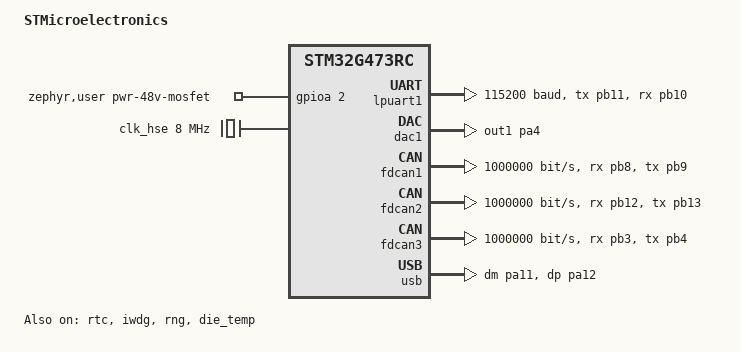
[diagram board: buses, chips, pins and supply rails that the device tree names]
/*
 * Copyright (c) 2019 STMicroelectronics.
 *
 * SPDX-License-Identifier: Apache-2.0
 */

/dts-v1/;
#include <st/g4/stm32g473Xc.dtsi>
#include "can_adapter.dtsi"
#include "stm32g473rctx_pinctrl.dtsi"
#include <zephyr/dt-bindings/input/input-event-codes.h>

/ {
	model = "STMicroelectronics";
	compatible = "st,stm32g473rc";

	chosen {
		zephyr,console = &rtt0;
		zephyr,shell-uart = &rtt0;
		zephyr,sram = &sram0;
		zephyr,flash = &flash0;
		zephyr,canfd1 = &fdcan1;
		zephyr,canfd2 = &fdcan2;
		zephyr,canfd3 = &fdcan3;
		zephyr,lpuart1 = &lpuart1;
	};

	rtt0: rtt_chan0 {
		compatible = "segger,rtt-uart";
		status = "okay";
	};

	aliases {
		watchdog0 = &iwdg;
	};
	zephyr,user {
		pwr-48v-mosfet-gpios = <&gpioa 2 GPIO_ACTIVE_HIGH>;
	};
};

&clk_lsi {
	status = "okay";
};

&clk_hsi48 {
	status = "okay";
};

&clk_hse {
	clock-frequency = <DT_FREQ_M(8)>;
	status = "okay";
};

&pll {
	div-m = <2>;
	mul-n = <85>;
	div-p = <2>;
	div-q = <2>;
	div-r = <2>;
	clocks = <&clk_hse>;
	status = "okay";
	// div-m = <1>;
	// mul-n = <40>;
	// div-p = <2>;
	// div-q = <2>;
	// div-r = <2>;
	// clocks = <&clk_hse>;
	// status = "okay";
};


&rcc {
	clocks = <&pll>;
	clock-frequency = <DT_FREQ_M(170)>;
	ahb-prescaler = <1>;
	apb1-prescaler = <1>;
	apb2-prescaler = <1>;
};

&lpuart1 {
	pinctrl-0 = <&lpuart1_tx_pb11 &lpuart1_rx_pb10>;
	pinctrl-names = "default";
	current-speed = <115200>;
	status = "okay";
};

&rtc {
	clocks = <&rcc STM32_CLOCK_BUS_APB1 0x00000400>,
		 <&rcc STM32_SRC_LSI RTC_SEL(2)>;
	status = "okay";
};

&flash0 {
	// partitions {
	// 	compatible = "fixed-partitions";
	// 	#address-cells = <1>;
	// 	#size-cells = <1>;

	// 	boot_partition: partition@0 {
	// 		label = "bootloader";
	// 		reg = <0x00000000 DT_SIZE_K(64)>;
	// 	};

	// 	slot0_partition: partition@10000 {
	// 		label = "image-0";
	// 		reg = <0x00010000 DT_SIZE_K(190)>;
	// 	};

	// 	factory_partition: partition@3f800 {
	// 		label = "factory_arg";
	// 		reg = <0x0003F800 DT_SIZE_K(2)>;
	// 	};
	// };

	// //! It seems that the size of the chip sectors is inconsistent. 
	// //! Maybe it is related to the bank. It has not been verified yet. 
	// //! When attempting to place the boot parameter at the end of the region, 
	// //! an error of being unable to erase or write occurred. 
	// //! Just swapping the regions of the app and the boot parameter restored it to normal.
	// partitions {
	// 	compatible = "fixed-partitions";
	// 	#address-cells = <1>;
	// 	#size-cells = <1>;

	// 	boot_partition: partition@0 {
	// 		label = "bootloader";
	// 		reg = <0x00000000 DT_SIZE_K(64)>;
	// 	};

	// 	factory_partition: partition@10000 {
	// 		label = "factory_arg";
	// 		reg = <0x00010000 DT_SIZE_K(2)>;
	// 	};

	// 	slot0_partition: partition@10800 {
	// 		label = "image-0";
	// 		reg = <0x00010800 DT_SIZE_K(190)>;
	// 	};
	// };

	// partitions {
	// 	compatible = "fixed-partitions";
	// 	#address-cells = <1>;
	// 	#size-cells = <1>;

	// 	boot_partition: partition@0 {
	// 		label = "bootloader";
	// 		reg = <0x00000000 DT_SIZE_K(94)>;
	// 	};

	// 	factory_partition: partition@17800 {
	// 		label = "factory_arg";
	// 		reg = <0x00017800 DT_SIZE_K(2)>;
	// 	};

	// 	slot0_partition: partition@18000 {
	// 		label = "image-0";
	// 		reg = <0x00018000 DT_SIZE_K(160)>;
	// 	};
	// };
	partitions {
		compatible = "fixed-partitions";
		#address-cells = <1>;
		#size-cells = <1>;

		boot_partition: partition@0 {
			label = "ddtboot";
			reg = <0x00000000 DT_SIZE_K(36)>;
			read-only;
		};
		slot0_partition: partition@9000 {
			label = "image-0";
			reg = <0x00009000 DT_SIZE_K(88)>;
		};

		factory_partition: partition@1f000 {
			label = "factory_arg";
			reg = <0x0001f000 DT_SIZE_K(2)>;
		};
		/* Set 1KB of boot_arg at the end of 128KB flash */
		boot_arg_partition: partition@1f800 {
			label = "boot_arg";
			reg = <0x0001f800 DT_SIZE_K(2)>;
		};
	};
};

&iwdg {
	status = "okay";
};

&rng {
	status = "okay";
};

&die_temp {
	status = "okay";
};

&dac1 {
	pinctrl-0 = <&dac1_out1_pa4>;
	pinctrl-names = "default";
	status = "okay";
};

// facan clocks reference RM0440:"RCC_APB1ENR1", "RCC_CCIPR",
//            "./doc/CANFD参考.png" and "./doc/CANFD参考2.png"
// bit 25: FDCANEN, 1 << 25 = 0x02000000
// HSE: 0
// PLL_Q: 1
// PCLK: 2
// Reserved: 3
&fdcan1 {
	clocks = <&rcc STM32_CLOCK_BUS_APB1 0x02000000>,
		 <&rcc STM32_SRC_PLL_Q FDCAN_SEL(1)>;
	pinctrl-0 = <&fdcan1_rx_pb8 &fdcan1_tx_pb9>;
	pinctrl-names = "default";
	bus-speed = <1000000>;
	bus-speed-data = <5000000>;
	sample-point = <800>;
	sample-point-data = <750>;
	status = "okay";
};
&fdcan2 {
	clocks = <&rcc STM32_CLOCK_BUS_APB1 0x02000000>,
		 <&rcc STM32_SRC_PLL_Q FDCAN_SEL(1)>;
	pinctrl-0 = <&fdcan2_rx_pb12 &fdcan2_tx_pb13>;
	pinctrl-names = "default";
	bus-speed = <1000000>;
	bus-speed-data = <5000000>;
	sample-point = <800>;
	sample-point-data = <750>;
	status = "okay";
};
&fdcan3 {
	clocks = <&rcc STM32_CLOCK_BUS_APB1 0x02000000>,
		 <&rcc STM32_SRC_PLL_Q FDCAN_SEL(1)>;
	pinctrl-0 = <&fdcan3_rx_pb3 &fdcan3_tx_pb4>;
	pinctrl-names = "default";
	bus-speed = <1000000>;
	bus-speed-data = <5000000>;
	sample-point = <800>;
	sample-point-data = <750>;
	status = "okay";
};

&usb {
	pinctrl-0 = <&usb_dm_pa11 &usb_dp_pa12>;
	pinctrl-names = "default";
	status = "okay";
};

&usb {
	pinctrl-0 = <&usb_dm_pa11 &usb_dp_pa12>;
	pinctrl-names = "default";
	status = "okay";
};

zephyr_udc0: &usb {
	status = "okay";
	cdc_acm_uart0: cdc_acm_uart0 {
		compatible = "zephyr,cdc-acm-uart";
	};
};
